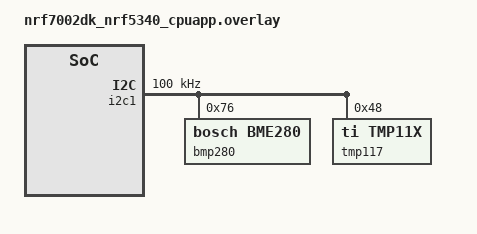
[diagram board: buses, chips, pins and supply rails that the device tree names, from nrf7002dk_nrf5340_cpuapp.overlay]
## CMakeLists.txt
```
cmake_minimum_required(VERSION 3.20.0)

if(BOARD STREQUAL "nrf7002dk/nrf5340/cpuapp")
  set(DTC_OVERLAY_FILE "${CMAKE_CURRENT_SOURCE_DIR}/nrf7002dk_nrf5340_cpuapp.overlay")
endif()

find_package(Zephyr REQUIRED HINTS $ENV{ZEPHYR_BASE})

project(Nordic_OTA)

target_sources(app PRIVATE src/main.c)
target_sources(app PRIVATE src/main.c src/mac_auth.c)
target_sources(app PRIVATE
    src/tls_common.c
    src/wifi_net.c
    src/ntp_sync.c
    src/ota_manifest.c
    src/ota_download.c
    src/sensor_iface.c
)
```

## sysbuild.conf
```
# ── sysbuild.conf (project root, alongside CMakeLists.txt) ───────────────────
# Processed by west/sysbuild before the application Kconfig.
# SB_CONFIG_ prefix = sysbuild-level symbol; never put these in prj.conf.

# Enable MCUboot as a child image. Sysbuild compiles it separately and wires
# it into the flash layout via Partition Manager.
SB_CONFIG_BOOTLOADER_MCUBOOT=y

# Place the secondary slot (OTA download target) in external QSPI flash.
#
# Internal flash (1 MB) layout after this change:
#   MCUboot bootloader  ~64 KB
#   Primary slot        ~928 KB   ← running firmware lives here
#   NVS / storage        ~32 KB
#
# External QSPI flash (8 MB) layout:
#   Secondary slot      ~928 KB   ← downloaded firmware lands here
#   Remaining ~7 MB     free (logs, assets, future use)
#
# This almost doubles usable per-slot firmware space versus the original
# two-slot-in-internal-flash design. Flash budget constraint is lifted.
SB_CONFIG_PM_EXTERNAL_FLASH_MCUBOOT_SECONDARY=y
SB_CONFIG_WIFI_NRF70=y
```

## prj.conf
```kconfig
# =============================================================================
# prj.conf — OTA Client, Stage 7 (MCUboot + External QSPI Flash Download)
# Target : nrf7002dk/nrf5340/cpuapp     NCS : v3.2.4 / Zephyr 4.2.x
# =============================================================================

# ── Wi-Fi ─────────────────────────────────────────────────────────────────────
CONFIG_WIFI=y
CONFIG_WIFI_NRF70=y
CONFIG_WIFI_NM_WPA_SUPPLICANT=y

# ── Wi-Fi Credentials & Auto-Connect ─────────────────────────────────────────
CONFIG_WIFI_CREDENTIALS=y
CONFIG_WIFI_CREDENTIALS_STATIC=y
CONFIG_WIFI_CREDENTIALS_STATIC_SSID="STECH"
CONFIG_WIFI_CREDENTIALS_STATIC_PASSWORD="$tech1311"
CONFIG_NET_CONNECTION_MANAGER=y
CONFIG_L2_WIFI_CONNECTIVITY=y
CONFIG_L2_WIFI_CONNECTIVITY_AUTO_CONNECT=y

# ── Networking Stack ──────────────────────────────────────────────────────────
CONFIG_NETWORKING=y
CONFIG_NET_SOCKETS=y
CONFIG_NET_L2_ETHERNET=y
CONFIG_NET_IPV4=y
CONFIG_NET_IPV6=n
CONFIG_NET_DHCPV4=y
CONFIG_NET_TCP=y
CONFIG_NET_UDP=y
CONFIG_NET_MGMT_EVENT_INFO=y

# ── DNS ───────────────────────────────────────────────────────────────────────
CONFIG_DNS_RESOLVER=y
CONFIG_DNS_RESOLVER_ADDITIONAL_BUF_CTR=5

# ── TLS ───────────────────────────────────────────────────────────────────────
CONFIG_NET_SOCKETS_SOCKOPT_TLS=y
# Two contexts: one for manifest fetch, one for firmware download.
# Both are sequential (never simultaneous), but the OS may not release
# the context instantly after close(). Two prevents ENOBUFS on rapid retries.
CONFIG_NET_SOCKETS_TLS_MAX_CONTEXTS=4
CONFIG_TLS_CREDENTIALS=y
CONFIG_MBEDTLS_SSL_SERVER_NAME_INDICATION=y

# ── nRF Security (PSA backend) ────────────────────────────────────────────────
CONFIG_NRF_SECURITY=y
CONFIG_NRF_SECURITY_ADVANCED=y
CONFIG_MBEDTLS_ECP_DP_SECP384R1_ENABLED=y
CONFIG_PSA_WANT_ECC_SECP_R1_384=y
CONFIG_PSA_WANT_ALG_ECDSA=y
CONFIG_MBEDTLS_MPI_MAX_SIZE=512
CONFIG_PSA_WANT_RSA_KEY_SIZE_4096=y

# SHA-256 via PSA — used for firmware read-back integrity check.
# Likely already selected by TLS dependencies, but made explicit here
# because we call psa_hash_setup(PSA_ALG_SHA_256) directly.
CONFIG_PSA_WANT_ALG_SHA_256=y

# ── NTP / Date-Time ───────────────────────────────────────────────────────────
CONFIG_SNTP=y
CONFIG_DATE_TIME=y
CONFIG_DATE_TIME_NTP=y

# ── JSON ──────────────────────────────────────────────────────────────────────
CONFIG_JSON_LIBRARY=y

# ── CRC32 ─────────────────────────────────────────────────────────────────────
# Enables crc32_ieee_update() for streaming CRC computed during download.
# Produces identical output to Python: binascii.crc32(data) & 0xFFFFFFFF
CONFIG_CRC=y

# ── MCUboot Integration (application side) ────────────────────────────────────
# Enables boot_request_upgrade() / boot_set_confirmed() in the application.
# The bootloader itself is built as a child image by sysbuild (sysbuild.conf).
CONFIG_BOOTLOADER_MCUBOOT=y
CONFIG_IMG_MANAGER=y
CONFIG_MCUBOOT_IMG_MANAGER=y

# ── External QSPI Flash — MX25R6435F (8 MB) ──────────────────────────────────
# Nordic QSPI NOR driver for the MX25R6435F on nRF7002DK.
#
# NOTE: The nRF7002 companion IC also uses QSPI. The board DTS defines both
# on the QSPI bus using separate chip-select lines. If you see DTS build
# errors about QSPI conflicts, check build/zephyr/zephyr.dts — the external
# flash node label there is the authoritative name to use in code.
CONFIG_NORDIC_QSPI_NOR=y
CONFIG_SPI_NOR=y
CONFIG_SPI_NOR_SFDP_DEVICETREE=y
CONFIG_SPI_NOR_FLASH_LAYOUT_PAGE_SIZE=4096
# ── Flash Subsystem ───────────────────────────────────────────────────────────
CONFIG_FLASH=y
CONFIG_FLASH_MAP=y
CONFIG_FLASH_PAGE_LAYOUT=y

# stream_flash: writes firmware to the secondary slot in 4 KB chunks using a
# small RAM buffer. CONFIG_STREAM_FLASH_ERASE=y auto-erases each 4 KB sector
# just before writing it, so no separate pre-erase loop is needed.
CONFIG_STREAM_FLASH=y
CONFIG_STREAM_FLASH_ERASE=y

# ── Reboot ────────────────────────────────────────────────────────────────────
CONFIG_REBOOT=y

# ── Memory ────────────────────────────────────────────────────────────────────
CONFIG_HEAP_MEM_POOL_SIZE=49152

# Stack increased from 4096: main() now runs flash erase/write, PSA hash
# over a 512-byte read buffer, and a 4096-byte recv loop. Zephyr's flash
# drivers allocate on the stack internally — 8 KB prevents stack overflow.
CONFIG_MAIN_STACK_SIZE=8192
CONFIG_SYSTEM_WORKQUEUE_STACK_SIZE=3072
CONFIG_NET_CONNECTION_MANAGER_MONITOR_STACK_SIZE=4096
CONFIG_DATE_TIME_THREAD_STACK_SIZE=3072

# ── Logging ───────────────────────────────────────────────────────────────────
CONFIG_LOG=y
CONFIG_LOG_MODE_IMMEDIATE=y
CONFIG_LOG_BACKEND_UART=y
CONFIG_NET_LOG=n
CONFIG_DK_LIBRARY=y
CONFIG_NEWLIB_LIBC=y
CONFIG_NEWLIB_LIBC_NANO=y
# Size reductions for nrf52840dk MCUboot dual-slot builds.
CONFIG_BOOT_BANNER=n
CONFIG_NCS_BOOT_BANNER=n
CONFIG_PRINTK=y
CONFIG_CBPRINTF_NANO=y
CONFIG_LTO=y
# ── I2C Sensors (sensor_iface.c) ──────────────────────────────────────────────
# Generic Zephyr sensor subsystem — sensor_iface.c talks to every sensor
# through this same API (sensor_sample_fetch / sensor_channel_get), so adding
# a new I2C sensor never needs new bus-level code, only:
#   1. its devicetree node (see the .overlay file)
#   2. enabling its driver Kconfig symbol below
#   3. one entry in the `sensors[]` table in sensor_iface.c
CONFIG_I2C=y
CONFIG_SENSOR=y
 
```

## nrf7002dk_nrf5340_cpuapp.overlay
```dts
/ {
	chosen {
		nordic,pm-ext-flash = &mx25r64;
	};
};
&i2c1{
    status = "okay";
    clock-frequency =<I2C_BITRATE_STANDARD>;
    /* BMP280 */
    bmp280: bmp280@76 {
        compatible = "bosch,bme280";
        status = "okay";
        reg = <0x76>;
    };

    /* TMP117 */
    tmp117: tmp117@48 {
        compatible = "ti,tmp11x";
        status = "okay";
        reg = <0x48>;
    };
};
```

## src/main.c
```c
/*
 * OTA Firmware Update Client — Stage 8 (Periodic, semaphore + thread)
 * Target : nrf7002dk/nrf5340/cpuapp     NCS : v3.2.4
 *
 * Full pipeline (unchanged from the previous modularised version):
 *  1. Wi-Fi auto-connect (wpa_supplicant + connection manager)
 *  2. 5 s routing stabilisation
 *  3. NTP time sync  (required for TLS cert notBefore/notAfter check)
 *  4. MAC address authentication against GitHub whitelist
 *  5. HTTPS fetch of update.json  → parse 5 fields only
 *  6. Semver version check         → skip if already current
 *  7. HTTPS download of firmware binary → stream directly to QSPI secondary slot
 *     (auto-restarts from scratch, up to OTA_MAX_DOWNLOAD_ATTEMPTS times, on
 *      any download or integrity failure)
 *  8. CRC-32 verification          → computed during download, zero extra RAM
 *  9. SHA-256 verification         → read-back from QSPI flash via PSA Crypto
 * 10. boot_request_upgrade()       → test-mode swap request
 * 11. sys_reboot()                 → MCUboot swaps primary ↔ secondary on next boot
 *     New firmware must call boot_set_confirmed() or MCUboot reverts on timeout.
 *
 * NEW in Stage 8 — periodic execution:
 *   The pipeline above (steps 1-11, minus the one-time Wi-Fi/TLS/LED init
 *   which now happens once in main()) runs inside a dedicated OTA thread,
 *   gated by a semaphore (sem_ota_trigger):
 *     - sem_ota_trigger starts at count 1, so the OTA pipeline still runs
 *       immediately on boot — identical first-run behaviour to before.
 *     - A k_timer (ota_timer) is started with period OTA_INTERVAL,
 *       and on every expiry calls k_sem_give(&sem_ota_trigger) from timer
 *       (ISR) context, waking the OTA thread for the next cycle.
 *     - If the pipeline succeeds, boot_request_upgrade()+sys_reboot() fires
 *       as before and the device restarts (timer/semaphore re-init on boot).
 *     - If the pipeline fails or finds no update, the OTA thread simply
 *       loops back to k_sem_take() and sleeps until the *next* full 24 h
 *       timer expiry — no shortened retry interval after a failed cycle.
 *
 * Module map:
 *   tls_common.{c,h}    — shared TLS socket setup + root CA registration
 *   wifi_net.{c,h}      — Wi-Fi L4 connect/disconnect event handling
 *   ntp_sync.{c,h}      — NTP time sync
 *   mac_auth.{c,h}      — MAC whitelist authentication
 *   ota_manifest.{c,h}  — update.json fetch + parsing + version compare
 *   ota_download.{c,h}  — firmware download, CRC-32, SHA-256 verification
 *   sensor_iface.{c,h}  — I2C sensor polling thread (TMP117 + BMP280,
 *                         table-driven — see sensor_iface.c to add more)
 */

#include <errno.h>
#include <zephyr/kernel.h>
#include <zephyr/logging/log.h>
#include <zephyr/sys/reboot.h>
#include <zephyr/dfu/mcuboot.h>

#include "tls_common.h"
#include "wifi_net.h"
#include "ntp_sync.h"
#include "mac_auth.h"
#include "ota_manifest.h"
#include "ota_download.h"
#include "sensor_iface.h"

LOG_MODULE_REGISTER(OTA_Client, LOG_LEVEL_INF);

/* ── Version ──────────────────────────────────────────────────────────────── */
#define FIRMWARE_VERSION_CURRENT  "1.1.2"

/* ── Download retry policy ───────────────────────────────────────────────── */
/* On any download or integrity-check failure, restart the firmware download
 * from byte 0 (up to this many total attempts) rather than giving up. */
#define OTA_MAX_DOWNLOAD_ATTEMPTS   3
#define OTA_RETRY_DELAY_MS          3000

/* ── Periodic OTA scheduling ─────────────────────────────────────────────── */
/* How often the whole OTA pipeline is re-run. On a failed/no-update cycle
 * the thread waits this full duration again before the next attempt.
 *
 * *** TESTING VALUE *** — set to 2 minutes so you don't have to wait 24 h
 * to see repeat cycles. Change back to K_HOURS(24) before production. */
#define OTA_INTERVAL  K_MINUTES(2)

#define OTA_THREAD_STACK_SIZE  4096
#define OTA_THREAD_PRIORITY    7

/*
 * sem_ota_trigger — gates the OTA worker thread.
 * Initial count 1 so the pipeline runs once immediately at boot (matching
 * the previous behaviour). Every subsequent k_sem_give() comes from
 * ota_timer_handler() on each 24 h timer expiry.
 */
static K_SEM_DEFINE(sem_ota_trigger, 1, 1);

static void ota_timer_handler(struct k_timer *timer_id)
{
    ARG_UNUSED(timer_id);
    LOG_INF("24 h OTA timer expired — triggering scheduled OTA check.");
    k_sem_give(&sem_ota_trigger);
}

K_TIMER_DEFINE(ota_timer, ota_timer_handler, NULL);

/* ═══════════════════════════════════════════════════════════════════════════
 * ota_run_once() — single end-to-end OTA pipeline pass.
 *
 * Identical logic to the previous main(): MAC auth → manifest fetch →
 * version check → download/verify retry loop → MCUboot upgrade request →
 * reboot. On success this function never returns (sys_reboot()). On any
 * failure or "already up to date" outcome it returns a status code so the
 * caller can simply log it and wait for the next cycle.
 *
 * Wi-Fi connect/DHCP and NTP sync are repeated on every cycle (not just at
 * boot) since the connection may have dropped between runs — same effect
 * as the original blocking calls, just re-entered each pass.
 * ═══════════════════════════════════════════════════════════════════════════ */
static int ota_run_once(void)
{
    int ret;

    /* ── 1. Ensure Wi-Fi + DHCP are up ───────────────────────────────────── */
    /*
     * NOTE: do NOT call wifi_net_wait_connected() here — that semaphore is
     * one-shot per connect event and is already consumed once at boot in
     * main(). If the link stays connected (the normal case), the event
     * never refires, so calling it again here would block this thread
     * forever on the 2nd+ cycle. Poll the persistent flag instead.
     */
    while (!wifi_net_is_connected()) {
        LOG_WRN("Wi-Fi not connected — waiting before this OTA cycle...");
        k_msleep(2000);
    }

    /* ── 2. Routing stabilisation ────────────────────────────────────────── */
    LOG_INF("Interface up. Waiting 5 s for routing to settle...");
    k_msleep(5000);

    /* ── 3. NTP time sync ────────────────────────────────────────────────── */
    ntp_sync_blocking(K_SECONDS(15));

    /* ── MAC Address Authentication Check ───────────────────────────────── */
    char local_mac[18] = {0};
    ret = get_local_mac_address(local_mac, sizeof(local_mac));
    if (ret != 0) {
        LOG_ERR("Could not read local MAC address: %d. Halting update.", ret);
        return ret;
    }
    LOG_INF("Local Hardware Identifier: %s", local_mac);

    LOG_INF("Checking system operational clearance against remote whitelist...");
    ret = verify_device_authorization(local_mac);
    if (ret != 0) {
        LOG_ERR("Device authorization failed (%d). Aborting OTA process.", ret);
        return ret;
    }
    k_msleep(500);

    /* ── 4. Fetch manifest ───────────────────────────────────────────────── */
    ret = ota_manifest_fetch();
    if (ret != 0) {
        LOG_ERR("Manifest fetch failed: %d", ret);
        return ret;
    }

    const struct ota_manifest *manifest = ota_manifest_get();

    /* ── 5. Version check ────────────────────────────────────────────────── */
    if (ota_manifest_version_cmp(manifest->version, FIRMWARE_VERSION_CURRENT) <= 0) {
        LOG_INF("Already running the latest firmware (%s). Nothing to do.",
                FIRMWARE_VERSION_CURRENT);
        return 0;
    }
    LOG_INF("Update available: %s → %s",
            FIRMWARE_VERSION_CURRENT, manifest->version);

    /* ── 6-8. Download + verify, restarting from scratch on any failure ─── */
    bool update_ready = false;

    for (int attempt = 1; attempt <= OTA_MAX_DOWNLOAD_ATTEMPTS; attempt++) {
        uint32_t computed_crc   = 0;
        size_t   received_bytes = 0;

        LOG_INF("Firmware download attempt %d/%d ...",
                attempt, OTA_MAX_DOWNLOAD_ATTEMPTS);

        ret = ota_download_firmware(manifest, &computed_crc, &received_bytes);
        if (ret != 0) {
            LOG_WRN("Download attempt %d failed (%d).", attempt, ret);
            goto retry_wait;
        }

        ret = ota_download_verify_crc32(manifest, computed_crc, received_bytes);
        if (ret != 0) {
            LOG_WRN("CRC-32 check failed on attempt %d — download was "
                    "corrupted or interrupted.", attempt);
            goto retry_wait;
        }

        ret = ota_download_verify_sha256(manifest);
        if (ret != 0) {
            LOG_WRN("SHA-256 check failed on attempt %d.", attempt);
            goto retry_wait;
        }

        update_ready = true;
        break;

retry_wait:
        if (attempt < OTA_MAX_DOWNLOAD_ATTEMPTS) {
            LOG_INF("Retrying download in %d ms ...", OTA_RETRY_DELAY_MS);
            k_msleep(OTA_RETRY_DELAY_MS);
        }
    }

    if (!update_ready) {
        LOG_ERR("Firmware download/verify failed after %d attempts. "
                "Giving up until next scheduled OTA check.",
                OTA_MAX_DOWNLOAD_ATTEMPTS);
        return -EIO;
    }

    /* ── 9. Request MCUboot upgrade and reboot ───────────────────────────── */
    LOG_INF("Download verified (CRC-32 + SHA-256 OK). "
            "Requesting MCUboot upgrade...");

    ret = boot_request_upgrade(BOOT_UPGRADE_TEST);
    if (ret != 0) {
        LOG_ERR("boot_request_upgrade failed: %d", ret);
        return ret;
    }

    LOG_INF("Rebooting into new firmware in 1 s...");
    k_msleep(1000);
    sys_reboot(SYS_REBOOT_COLD);

    /* Never reached */
    return 0;
}

/* ═══════════════════════════════════════════════════════════════════════════
 * ota_thread_fn() — persistent worker thread.
 *
 * Blocks on sem_ota_trigger, runs one full OTA pass, then goes straight
 * back to waiting on the semaphore. Whether the pass succeeded, found no
 * update, or failed after retries, the next wake-up only happens via the
 * next k_sem_give() — i.e. the next full OTA_INTERVAL timer expiry. There
 * is no shortened/backoff retry interval after a failure.
 * ═══════════════════════════════════════════════════════════════════════════ */
static void ota_thread_fn(void *arg1, void *arg2, void *arg3)
{
    ARG_UNUSED(arg1);
    ARG_UNUSED(arg2);
    ARG_UNUSED(arg3);

    while (true) {
        k_sem_take(&sem_ota_trigger, K_FOREVER);

        LOG_INF("=== Starting OTA check/update cycle ===");
        int ret = ota_run_once();
        LOG_INF("=== OTA cycle finished (ret=%d). Sleeping until next "
                "scheduled check. ===", ret);
    }
}

K_THREAD_STACK_DEFINE(ota_thread_stack, OTA_THREAD_STACK_SIZE);
static struct k_thread ota_thread_data;

/* ═══════════════════════════════════════════════════════════════════════════
 * MAIN — one-time init only. Periodic OTA work happens in ota_thread_fn().
 * ═══════════════════════════════════════════════════════════════════════════ */
int main(void)
{
    int ret;

    /* Sensor reading replaces the old LED heartbeat — no dk_leds_init()
     * precondition, just start the polling thread directly. */
    sensor_iface_start();

    ret = tls_common_init();
    if (ret < 0) {
        return ret;
    }

    LOG_INF("OTA Client starting. Waiting for Wi-Fi...");

    wifi_net_init();

    /* Block here once at boot so the first OTA pass (triggered by the
     * semaphore's initial count of 1) doesn't race ahead of link-up. The
     * OTA thread itself also calls wifi_net_wait_connected() on every
     * cycle, in case the link has dropped between runs. */
    wifi_net_wait_connected();

    /* ── Start the periodic OTA worker thread ────────────────────────────── */
    k_thread_create(&ota_thread_data,
                    ota_thread_stack,
                    K_THREAD_STACK_SIZEOF(ota_thread_stack),
                    ota_thread_fn,
                    NULL, NULL, NULL,
                    OTA_THREAD_PRIORITY,
                    0,
                    K_NO_WAIT);

    /* ── Start the 24 h recurring trigger ────────────────────────────────── */
    k_timer_start(&ota_timer, OTA_INTERVAL, OTA_INTERVAL);

    LOG_INF("OTA scheduler armed: first check now, then every 24 h.");

    return 0;
}
```

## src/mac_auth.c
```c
/*
 * mac_auth.c — Device MAC-address whitelist authentication
 *
 * Fetches /BareMetalBits/OTA_Nordic/main/allowed_macs.json over HTTPS and
 * checks whether this device's Wi-Fi MAC address appears in the list.
 *
 * Reuses OTA_TLS_SEC_TAG (defined in mac_auth.h) — the root CA credential
 * registered by main() before this function is ever called. No separate
 * tls_credential_add() call is needed here.
 *
 * Call order enforced by main():
 *   1. tls_credential_add()          — root CA registered at startup
 *   2. NTP sync complete             — cert time validation works
 *   3. get_local_mac_address()       — read this device's MAC
 *   4. verify_device_authorization() — fetch + search whitelist
 *   5. fetch_manifest() ...          — proceed only if step 4 returns 0
 */

#include "mac_auth.h"

#include <errno.h>
#include <stdio.h>
#include <string.h>
#include <ctype.h>

#include <zephyr/kernel.h>
#include <zephyr/logging/log.h>
#include <zephyr/net/net_if.h>
#include <zephyr/net/socket.h>
#include <zephyr/net/tls_credentials.h>

LOG_MODULE_REGISTER(mac_auth, LOG_LEVEL_INF);

/* ── Endpoint ─────────────────────────────────────────────────────────────── */
#define GITHUB_HOST  "raw.githubusercontent.com"
#define GITHUB_PORT  "443"
#define AUTH_PATH    "/BareMetalBits/OTA_Nordic/main/allowed_macs.json"

/*
 * Response buffer: holds the full HTTP response (headers + JSON body).
 * GitHub/Fastly headers: ~700-1000 bytes.
 * JSON body (50 MACs × 22 chars each): ~1100 bytes.
 * 3 KB covers both with headroom. Static (BSS) — no stack cost.
 */
#define AUTH_RESP_BUF_SIZE  3072
static char resp_buf[AUTH_RESP_BUF_SIZE];

/* ── Case-insensitive substring search ───────────────────────────────────── */
/*
 * Returns a pointer to the first occurrence of needle in haystack, ignoring
 * ASCII case. Returns NULL if not found. MAC addresses are stored as
 * uppercase "AA:BB:CC:DD:EE:FF" — this function also accepts lowercase JSON.
 *
 * Returns const char * (not char *) because haystack is const: the caller
 * only needs to test for NULL, never to write through the returned pointer.
 */
static const char *istrstr(const char *haystack, const char *needle)
{
    if (!haystack || !needle || !*needle) {
        return haystack;
    }
    for (; *haystack; haystack++) {
        if (tolower((unsigned char)*haystack) ==
            tolower((unsigned char)*needle)) {
            const char *h = haystack + 1;
            const char *n = needle   + 1;
            while (*h && *n &&
                   tolower((unsigned char)*h) ==
                   tolower((unsigned char)*n)) {
                h++;
                n++;
            }
            if (!*n) {
                return haystack;
            }
        }
    }
    return NULL;
}

/* ═══════════════════════════════════════════════════════════════════════════
 * get_local_mac_address()
 *
 * Reads the default network interface's link-layer address and formats it as
 * "AA:BB:CC:DD:EE:FF\0" (uppercase hex, colon-separated, 18 chars total).
 *
 * The MAC is logged at INF so you can immediately read it from the terminal
 * and copy it into allowed_macs.json — no separate tool needed.
 * ═══════════════════════════════════════════════════════════════════════════ */
int get_local_mac_address(char *mac_str, size_t max_len)
{
    if (!mac_str || max_len < 18) {
        return -EINVAL;
    }

    struct net_if *iface = net_if_get_default();
    if (!iface) {
        LOG_ERR("No default network interface available.");
        return -ENODEV;
    }

    struct net_linkaddr *link = net_if_get_link_addr(iface);
    if (!link || link->len != 6) {
        LOG_ERR("Link-layer address unavailable or not 6 bytes.");
        return -EINVAL;
    }

    snprintf(mac_str, max_len, "%02X:%02X:%02X:%02X:%02X:%02X",
             link->addr[0], link->addr[1], link->addr[2],
             link->addr[3], link->addr[4], link->addr[5]);

    LOG_INF("Device MAC: %s  (add to allowed_macs.json if auth is denied)",
            mac_str);
    return 0;
}

/* ═══════════════════════════════════════════════════════════════════════════
 * verify_device_authorization()
 *
 * Downloads allowed_macs.json over HTTPS (TLS_PEER_VERIFY_REQUIRED, ISRG
 * Root X1 credential) and performs a case-insensitive search for local_mac
 * in the JSON body.
 *
 * Returns  0        authorised
 *         -EACCES   MAC not found in whitelist
 *         other     network / TLS / protocol error
 * ═══════════════════════════════════════════════════════════════════════════ */
int verify_device_authorization(const char *local_mac)
{
    if (!local_mac || !*local_mac) {
        return -EINVAL;
    }

    /* ── DNS + TLS ──────────────────────────────────────────────────────── */
    struct addrinfo hints = {
        .ai_family   = AF_INET,
        .ai_socktype = SOCK_STREAM,
        .ai_protocol = IPPROTO_TCP,
    };
    struct addrinfo *res = NULL;

    int ret = getaddrinfo(GITHUB_HOST, GITHUB_PORT, &hints, &res);
    if (ret != 0) {
        LOG_ERR("DNS lookup failed for %s: %d", GITHUB_HOST, ret);
        return -EIO;
    }

    int sock = socket(AF_INET, SOCK_STREAM, IPPROTO_TLS_1_2);
    if (sock < 0) {
        LOG_ERR("TLS socket create failed, errno %d", errno);
        freeaddrinfo(res);
        return -errno;
    }

    sec_tag_t sec_tags[] = { OTA_TLS_SEC_TAG };
    setsockopt(sock, SOL_TLS, TLS_SEC_TAG_LIST,  sec_tags, sizeof(sec_tags));
    setsockopt(sock, SOL_TLS, TLS_HOSTNAME, GITHUB_HOST, strlen(GITHUB_HOST));
    int verify = TLS_PEER_VERIFY_REQUIRED;
    setsockopt(sock, SOL_TLS, TLS_PEER_VERIFY, &verify, sizeof(verify));

    ret = connect(sock, res->ai_addr, res->ai_addrlen);
    freeaddrinfo(res);
    if (ret < 0) {
        LOG_ERR("TLS connect to %s:%s failed, errno %d",
                GITHUB_HOST, GITHUB_PORT, errno);
        close(sock);
        return -errno;
    }

    LOG_INF("TLS connected to %s for MAC auth", GITHUB_HOST);

    /* ── HTTP GET ──────────────────────────────────────────────────────── */
    char req[256];
    int  req_len = snprintf(req, sizeof(req),
        "GET %s HTTP/1.1\r\n"
        "Host: %s\r\n"
        "Connection: close\r\n"
        "\r\n",
        AUTH_PATH, GITHUB_HOST);

    if (send(sock, req, req_len, 0) < 0) {
        LOG_ERR("send() failed, errno %d", errno);
        close(sock);
        return -errno;
    }

    /* ── Receive full response ─────────────────────────────────────────── */
    memset(resp_buf, 0, sizeof(resp_buf));
    size_t total       = 0;
    bool   peer_closed = false;
    int    n;

    while (total < sizeof(resp_buf) - 1) {
        n = recv(sock, resp_buf + total,
                 sizeof(resp_buf) - 1 - total, 0);
        if (n < 0) {
            LOG_ERR("recv() failed, errno %d", errno);
            close(sock);
            return -errno;
        }
        if (n == 0) {
            peer_closed = true;
            break; /* server closed — all data received */
        }
        total += n;
    }
    close(sock);

    if (!peer_closed) {
        /*
         * Buffer filled before the server closed — the JSON body is truncated.
         * A truncated search could produce a false negative (legitimate device
         * gets denied). Fail loudly rather than silently authorise or deny.
         * Fix: increase AUTH_RESP_BUF_SIZE or trim the whitelist JSON.
         */
        LOG_ERR("Auth response buffer full (%d B) before server EOF — "
                "whitelist may be truncated. Increase AUTH_RESP_BUF_SIZE.",
                AUTH_RESP_BUF_SIZE);
        return -EMSGSIZE;
    }

    resp_buf[total] = '\0';

    /* ── Locate HTTP body ──────────────────────────────────────────────── */
    char *body = strstr(resp_buf, "\r\n\r\n");
    if (!body) {
        LOG_ERR("No HTTP header/body separator in auth response.");
        return -EPROTO;
    }
    body += 4;

    /* ── MAC search ────────────────────────────────────────────────────── */
    /*
     * Scan the raw JSON body for the MAC string (case-insensitive).
     * A 17-character MAC address "AA:BB:CC:DD:EE:FF" is a fixed length and
     * cannot be a proper prefix of another valid MAC, so strstr produces no
     * false positives in well-formed JSON.
     *
     * Supported JSON format (any order, extra fields ignored):
     *   {
     *     "allowed_macs": [
     *       "AA:BB:CC:DD:EE:FF",
     *       "11:22:33:44:55:66"
     *     ]
     *   }
     */
    if (istrstr(body, local_mac) != NULL) {
        LOG_INF("MAC auth PASSED: %s is authorised.", local_mac);
        return 0;
    }

    LOG_ERR("MAC auth DENIED: %s not found in whitelist.", local_mac);
    return -EACCES;
}
```

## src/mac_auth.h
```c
#ifndef MAC_AUTH_H
#define MAC_AUTH_H

#include <stddef.h>
#include "tls_common.h"

/*
 * OTA_TLS_SEC_TAG is now defined in tls_common.h (single source of truth
 * for the shared TLS credential tag, used by main.c, tls_common.c, and
 * mac_auth.c). Pulled in transitively via the include above — no
 * redefinition needed here.
 */

/**
 * @brief Read the Wi-Fi interface MAC address as an uppercase hex string.
 *
 * Format: "AA:BB:CC:DD:EE:FF\0"  — caller must supply at least 18 bytes.
 * The address is also logged at INF level for easy copy-paste into
 * allowed_macs.json when setting up a new board.
 *
 * @param mac_str  Output buffer (minimum 18 bytes).
 * @param max_len  Size of mac_str.
 * @return 0 on success, -ENODEV if no interface, -EINVAL if buffer too small.
 */
int get_local_mac_address(char *mac_str, size_t max_len);

/**
 * @brief Fetch allowed_macs.json and verify this device is listed.
 *
 * Opens a TLS 1.2 connection to raw.githubusercontent.com, downloads
 * /BareMetalBits/OTA_Nordic/main/allowed_macs.json, and performs a
 * case-insensitive search for local_mac in the JSON body.
 *
 * Prerequisites (enforced by call order in main()):
 *   - tls_credential_add() has been called for OTA_TLS_SEC_TAG
 *   - NTP sync has completed so cert time validation works
 *
 * @param local_mac  Null-terminated MAC from get_local_mac_address().
 * @return  0          authorised
 *         -EACCES     MAC not found in whitelist
 *         -EMSGSIZE   auth response truncated (increase AUTH_RESP_BUF_SIZE)
 *         other       network / TLS / protocol error
 */
int verify_device_authorization(const char *local_mac);

#endif /* MAC_AUTH_H */
```

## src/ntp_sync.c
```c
/*
 * ntp_sync.c — NTP time sync wrapper.
 *
 * on_date_time_notification() body is byte-for-byte identical to the
 * original in main.c.
 */

#include "ntp_sync.h"

#include <zephyr/logging/log.h>
#include <date_time.h>

LOG_MODULE_REGISTER(ntp_sync, LOG_LEVEL_INF);

static K_SEM_DEFINE(sem_ntp_done, 0, 1);

static void on_date_time_notification(const struct date_time_evt *evt)
{
    if (evt->type == DATE_TIME_OBTAINED_NTP) {
        LOG_INF("NTP sync successful.");
    } else {
        LOG_WRN("NTP sync failed — TLS cert time check may fail if cert "
                "window has shifted.");
    }
    k_sem_give(&sem_ntp_done);
}

void ntp_sync_blocking(k_timeout_t timeout)
{
    LOG_INF("Starting NTP sync...");
    date_time_register_handler(on_date_time_notification);
    date_time_update_async(NULL);

    if (k_sem_take(&sem_ntp_done, timeout) != 0) {
        LOG_WRN("NTP timed out — TLS cert time check may fail if cert expired");
    }
}
```

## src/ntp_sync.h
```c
#define NTP_SYNC_H

#include <zephyr/kernel.h>

/*
 * ntp_sync.h — NTP time sync wrapper.
 *
 * Extracted from main.c: on_date_time_notification(), sem_ntp_done, and
 * the date_time_register_handler() / date_time_update_async() / k_sem_take
 * sequence that was inlined in main(). Logic is unchanged; the only
 * difference is the 15-second timeout is now a function parameter instead
 * of a hardcoded K_SECONDS(15), to avoid a magic number crossing the
 * module boundary silently. Calling with the same value reproduces
 * identical behaviour.
 */

/**
 * @brief Start an NTP sync and block until it completes or times out.
 *
 * On timeout, logs the same warning the original main() logged and returns
 * normally — NTP failure is non-fatal, exactly as before.
 *
 * @param timeout  How long to wait for sync (pass K_SECONDS(15) to match
 *                 the original main.c behaviour exactly).
 */
void ntp_sync_blocking(k_timeout_t timeout);
```

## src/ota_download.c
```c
/*
 * ota_download.c — Firmware download, CRC-32, and SHA-256 verification.
 *
 * download_firmware(), verify_crc32(), verify_sha256(), open_secondary_slot(),
 * and find_body_start() bodies are byte-for-byte identical to the originals
 * in main.c. The only change is reading manifest fields through a passed-in
 * `const struct ota_manifest *manifest` parameter instead of the file-static
 * g_manifest global — same field names, same values, same access pattern,
 * just passed explicitly across the module boundary instead of shared
 * implicitly within one file.
 */

#include "ota_download.h"
#include "ota_manifest.h"
#include "tls_common.h"

#include <errno.h>
#include <stdint.h>
#include <stdio.h>
#include <stdlib.h>
#include <string.h>

#include <zephyr/kernel.h>
#include <zephyr/logging/log.h>
#include <zephyr/net/socket.h>
#include <zephyr/sys/crc.h>
#include <zephyr/storage/flash_map.h>
#include <zephyr/storage/stream_flash.h>

#include <psa/crypto.h>

LOG_MODULE_REGISTER(ota_download, LOG_LEVEL_INF);

/* ── GitHub endpoint ──────────────────────────────────────────────────────── */
#define GITHUB_HOST    "raw.githubusercontent.com"
#define GITHUB_PORT    "443"

/*
 * Firmware download recv buffer: 4 KB matches the MX25R6435F sector.
 * Stored in BSS (no flash cost, only RAM). With 512 KB RAM this is fine.
 */
#define FW_RECV_BUF_SIZE       4096
/* stream_flash internal buffer: must equal or be a multiple of the erase unit. */
#define STREAM_FLASH_BUF_SIZE  4096

/* ── Flash context (global — too large for stack) ────────────────────────── */
static struct stream_flash_ctx g_fw_stream;
static uint8_t                 g_stream_buf[STREAM_FLASH_BUF_SIZE];
static const struct flash_area *g_fw_fa;

/* ── Firmware download recv buffer ───────────────────────────────────────── */
static uint8_t fw_recv_buf[FW_RECV_BUF_SIZE];

static const uint8_t *find_body_start(const uint8_t *buf, size_t len)
{
    for (size_t i = 0; (i + 3) < len; i++) {
        if (buf[i]   == '\r' && buf[i+1] == '\n' &&
            buf[i+2] == '\r' && buf[i+3] == '\n') {
            return buf + i + 4;
        }
    }
    return NULL;
}

static int open_secondary_slot(void)
{
    int ret = flash_area_open(FIXED_PARTITION_ID(mcuboot_secondary), &g_fw_fa);
    if (ret != 0) {
        LOG_ERR("flash_area_open(mcuboot_secondary) failed: %d. "
                "Verify PM_MCUBOOT_SECONDARY_ID in pm_config.h", ret);
        return ret;
    }

    const struct device *flash_dev = flash_area_get_device(g_fw_fa);
    if (!device_is_ready(flash_dev)) {
        LOG_ERR("QSPI flash device not ready. "
                "Check CONFIG_NORDIC_QSPI_NOR=y and board DTS node.");
        flash_area_close(g_fw_fa);
        return -ENODEV;
    }

    ret = stream_flash_init(&g_fw_stream,
                            flash_dev,
                            g_stream_buf,
                            sizeof(g_stream_buf),
                            g_fw_fa->fa_off,
                            g_fw_fa->fa_size,
                            NULL);
    if (ret != 0) {
        LOG_ERR("stream_flash_init failed: %d", ret);
        flash_area_close(g_fw_fa);
    }
    return ret;
}

/*
 * Each call starts completely fresh: re-opens the secondary slot, re-inits
 * stream_flash, and re-downloads from byte 0. CONFIG_STREAM_FLASH_ERASE=y
 * re-erases each 4 KB sector before writing, so calling this repeatedly
 * from main()'s retry loop after a failed/interrupted attempt is safe.
 */
int ota_download_firmware(const struct ota_manifest *manifest,
                          uint32_t *out_crc, size_t *out_bytes)
{
    int ret = open_secondary_slot();
    if (ret != 0) {
        return ret;
    }

    int sock = tls_common_open_socket(GITHUB_HOST, GITHUB_PORT);
    if (sock < 0) {
        flash_area_close(g_fw_fa);
        return sock;
    }

    char req[384];
    int  req_len = snprintf(req, sizeof(req),
        "GET %s HTTP/1.0\r\n"
        "Host: %s\r\n"
        "\r\n",
        manifest->fw_path, GITHUB_HOST);

    if (send(sock, req, req_len, 0) < 0) {
        LOG_ERR("firmware GET send() failed, errno %d", errno);
        close(sock);
        flash_area_close(g_fw_fa);
        return -errno;
    }

    LOG_INF("Downloading firmware from %s ...", manifest->fw_path);

    uint32_t running_crc    = 0;
    size_t   bytes_written  = 0;
    bool     headers_skipped = false;
    int      n;

    while (true) {
        n = recv(sock, fw_recv_buf, sizeof(fw_recv_buf), 0);
        if (n < 0) {
            LOG_ERR("firmware recv() failed, errno %d", errno);
            ret = -errno;
            goto cleanup;
        }
        if (n == 0) {
            break;
        }

        const uint8_t *data     = fw_recv_buf;
        size_t         data_len = (size_t)n;

        if (!headers_skipped) {
            const uint8_t *body = find_body_start(fw_recv_buf, data_len);
            if (!body) {
                continue;
            }
            headers_skipped = true;
            data_len = data_len - (size_t)(body - fw_recv_buf);
            data     = body;
            LOG_INF("HTTP headers consumed. Firmware data starting.");
        }

        if (data_len == 0) {
            continue;
        }

        ret = stream_flash_buffered_write(&g_fw_stream, data, data_len, false);
        if (ret != 0) {
            LOG_ERR("stream_flash write failed at offset %zu: %d",
                    bytes_written, ret);
            goto cleanup;
        }

        running_crc   = crc32_ieee_update(running_crc, data, data_len);
        bytes_written += data_len;
    }

    ret = stream_flash_buffered_write(&g_fw_stream, NULL, 0, true);
    if (ret != 0) {
        LOG_ERR("stream_flash flush failed: %d", ret);
        goto cleanup;
    }

    LOG_INF("Download complete: %zu bytes written to QSPI secondary slot",
            bytes_written);
    *out_crc   = running_crc;
    *out_bytes = bytes_written;
    ret = 0;

cleanup:
    close(sock);
    flash_area_close(g_fw_fa);
    return ret;
}

int ota_download_verify_crc32(const struct ota_manifest *manifest,
                              uint32_t computed, size_t received_bytes)
{
    if ((int)received_bytes != manifest->file_size) {
        LOG_ERR("File size mismatch: received %zu bytes, manifest says %d",
                received_bytes, manifest->file_size);
        return -EMSGSIZE;
    }

    uint32_t expected = (uint32_t)strtoul(manifest->crc32, NULL, 16);
    if (computed != expected) {
        LOG_ERR("CRC32 FAIL — computed 0x%08X, expected 0x%08X",
                computed, expected);
        return -EBADMSG;
    }

    LOG_INF("CRC32 OK: 0x%08X", computed);
    return 0;
}

int ota_download_verify_sha256(const struct ota_manifest *manifest)
{
    int ret = flash_area_open(FIXED_PARTITION_ID(mcuboot_secondary), &g_fw_fa);
    if (ret != 0) {
        LOG_ERR("Cannot open secondary slot for SHA-256 read-back: %d", ret);
        return ret;
    }

    psa_hash_operation_t op  = PSA_HASH_OPERATION_INIT;
    psa_status_t         psa = psa_hash_setup(&op, PSA_ALG_SHA_256);
    if (psa != PSA_SUCCESS) {
        LOG_ERR("psa_hash_setup failed: %d", psa);
        flash_area_close(g_fw_fa);
        return -EIO;
    }

    uint8_t read_buf[512];
    size_t  remaining = (size_t)manifest->file_size;
    size_t  offset    = 0;

    while (remaining > 0) {
        size_t to_read = MIN(remaining, sizeof(read_buf));

        ret = flash_area_read(g_fw_fa, offset, read_buf, to_read);
        if (ret != 0) {
            LOG_ERR("flash_area_read at offset %zu failed: %d", offset, ret);
            psa_hash_abort(&op);
            flash_area_close(g_fw_fa);
            return ret;
        }

        psa_hash_update(&op, read_buf, to_read);
        offset    += to_read;
        remaining -= to_read;
    }

    flash_area_close(g_fw_fa);

    uint8_t hash[32];
    size_t  hash_len;

    psa = psa_hash_finish(&op, hash, sizeof(hash), &hash_len);
    if (psa != PSA_SUCCESS) {
        LOG_ERR("psa_hash_finish failed: %d", psa);
        return -EIO;
    }

    char hash_str[65];
    for (int i = 0; i < 32; i++) {
        snprintf(&hash_str[i * 2], 3, "%02x", hash[i]);
    }
    hash_str[64] = '\0';

    if (strcmp(hash_str, manifest->sha256) != 0) {
        LOG_ERR("SHA-256 FAIL");
        LOG_ERR("  computed : %s", hash_str);
        LOG_ERR("  expected : %s", manifest->sha256);
        return -EBADMSG;
    }

    LOG_INF("SHA-256 OK: %s", hash_str);
    return 0;
}
```

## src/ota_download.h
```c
#define OTA_DOWNLOAD_H

#include <stddef.h>
#include <stdint.h>

/*
 * ota_download.h — Firmware download to QSPI secondary slot, CRC-32 and
 * SHA-256 verification.
 *
 * Extracted from main.c: open_secondary_slot(), download_firmware(),
 * verify_crc32(), verify_sha256(), find_body_start(), and the associated
 * static buffers (g_fw_stream, g_stream_buf, g_fw_fa, fw_recv_buf).
 * All logic identical to the original.
 *
 * download_firmware() and verify_crc32()/verify_sha256() now take a
 * `const struct ota_manifest *manifest` parameter instead of reading the
 * file-static g_manifest directly — this is the one intentional design
 * change recommended during the modularisation discussion (explicit
 * dependency instead of implicit global), not a behavioural change: the
 * exact same fields (fw_path, file_size, sha256, crc32) are read in the
 * exact same way.
 */

struct ota_manifest; /* forward declaration — full definition in ota_manifest.h */

/**
 * @brief Download the firmware binary named in manifest->fw_path to the
 * QSPI secondary slot, computing CRC-32 incrementally as data arrives.
 *
 * Each call starts completely fresh: re-opens the secondary slot, re-inits
 * stream_flash, and re-downloads from byte 0 — identical behaviour to the
 * original, safe to call repeatedly from a retry loop.
 *
 * @param manifest   Parsed manifest (must have fw_path set).
 * @param out_crc    Receives the CRC-32 of all bytes written.
 * @param out_bytes  Receives the total byte count written.
 * @return 0 on success, negative errno on failure.
 */
int ota_download_firmware(const struct ota_manifest *manifest,
                          uint32_t *out_crc, size_t *out_bytes);

/**
 * @brief Verify the CRC-32 computed during download against the manifest.
 *
 * Identical to the original verify_crc32(): also checks received_bytes
 * against manifest->file_size before comparing the CRC value.
 *
 * @return 0 on match, -EMSGSIZE on size mismatch, -EBADMSG on CRC mismatch.
 */
int ota_download_verify_crc32(const struct ota_manifest *manifest,
                              uint32_t computed, size_t received_bytes);

/**
 * @brief Verify SHA-256 by reading back the firmware from QSPI flash.
 *
 * Identical to the original verify_sha256(): PSA Crypto read-back in
 * 512-byte chunks, hex-compared against manifest->sha256.
 *
 * @return 0 on match, -EBADMSG on hash mismatch, other negative errno on
 *         flash/PSA error.
 */
int ota_download_verify_sha256(const struct ota_manifest *manifest);
```

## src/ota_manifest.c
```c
/*
 * ota_manifest.c — OTA manifest fetch and parsing.
 *
 * fetch logic, header/body splitting, truncation guard, and bitmask
 * validation are byte-for-byte identical to the original fetch_manifest()
 * in main.c. Only the function name (ota_manifest_fetch) and the addition
 * of ota_manifest_get() / ota_manifest_version_cmp() wrappers are new —
 * no behavioural change.
 */

#include "ota_manifest.h"
#include "tls_common.h"

#include <errno.h>
#include <stdio.h>
#include <string.h>

#include <zephyr/kernel.h>
#include <zephyr/logging/log.h>
#include <zephyr/net/socket.h>
#include <zephyr/data/json.h>

LOG_MODULE_REGISTER(ota_manifest, LOG_LEVEL_INF);

/* ── GitHub endpoint ──────────────────────────────────────────────────────── */
#define GITHUB_HOST    "raw.githubusercontent.com"
#define GITHUB_PORT    "443"
#define MANIFEST_PATH  "/BareMetalBits/OTA_Nordic_Server/main/update.json"

/*
 * Manifest buffer holds the ENTIRE HTTP response — headers + body.
 * raw.githubusercontent.com (GitHub/Fastly CDN) routinely sends 700-1000+
 * bytes of response headers ahead of the ~230 byte update.json body.
 * 2048 bytes leaves comfortable headroom for both.
 */
#define MANIFEST_BUF_SIZE  2048

static const struct json_obj_descr manifest_descr[] = {
    JSON_OBJ_DESCR_PRIM(struct ota_manifest, version,   JSON_TOK_STRING),
    JSON_OBJ_DESCR_PRIM(struct ota_manifest, file_size, JSON_TOK_NUMBER),
    JSON_OBJ_DESCR_PRIM(struct ota_manifest, fw_path,   JSON_TOK_STRING),
    JSON_OBJ_DESCR_PRIM(struct ota_manifest, sha256,    JSON_TOK_STRING),
    JSON_OBJ_DESCR_PRIM(struct ota_manifest, crc32,     JSON_TOK_STRING),
};

static struct ota_manifest g_manifest;
static char manifest_raw[MANIFEST_BUF_SIZE];

int ota_manifest_fetch(void)
{
    int sock = tls_common_open_socket(GITHUB_HOST, GITHUB_PORT);
    if (sock < 0) {
        return sock;
    }

    char req[256];
    int  req_len = snprintf(req, sizeof(req),
        "GET %s HTTP/1.1\r\n"
        "Host: %s\r\n"
        "Connection: close\r\n"
        "\r\n",
        MANIFEST_PATH, GITHUB_HOST);

    if (send(sock, req, req_len, 0) < 0) {
        LOG_ERR("manifest send() failed, errno %d", errno);
        close(sock);
        return -errno;
    }

    size_t total = 0;
    int    n;
    bool   peer_closed = false;

    memset(manifest_raw, 0, sizeof(manifest_raw));

    while (total < sizeof(manifest_raw) - 1) {
        n = recv(sock, manifest_raw + total,
                 sizeof(manifest_raw) - 1 - total, 0);
        if (n < 0) {
            LOG_ERR("manifest recv() failed, errno %d", errno);
            close(sock);
            return -errno;
        }
        if (n == 0) {
            peer_closed = true;
            break; /* server closed connection — all data received */
        }
        total += n;
    }
    close(sock);

    if (!peer_closed) {
        /* Buffer filled before the server sent a clean close — the
         * response is almost certainly truncated. Fail loudly instead of
         * letting json_obj_parse() guess. */
        LOG_WRN("manifest_raw filled (%zu bytes) before the connection "
                "closed — response is likely truncated. Increase "
                "MANIFEST_BUF_SIZE if this keeps happening.", total);
    }

    /* Separate headers from body. */
    char *body = strstr(manifest_raw, "\r\n\r\n");
    if (!body) {
        LOG_ERR("No HTTP body separator in manifest response");
        return -EPROTO;
    }
    body += 4;
    size_t body_len = total - (size_t)(body - manifest_raw);

    /* Full raw body is only useful for deep debugging — keep it out of the
     * normal terminal output by logging at DBG level. */
    LOG_DBG("Manifest body (%zu bytes):\n%s", body_len, body);

    memset(&g_manifest, 0, sizeof(g_manifest));
    int ret = json_obj_parse(body, body_len,
                             manifest_descr, ARRAY_SIZE(manifest_descr),
                             &g_manifest);
    if (ret < 0) {
        LOG_ERR("JSON parse failed: %d", ret);
        return ret;
    }

    /* json_obj_parse() returns a bitmask of which descriptors were found.
     * A successful return code doesn't guarantee every field was present —
     * confirm all 5 bits are set before trusting the manifest. */
    const int all_fields = (1 << ARRAY_SIZE(manifest_descr)) - 1;
    if (ret != all_fields) {
        LOG_ERR("Manifest missing field(s) — parsed mask 0x%x, expected 0x%x",
                ret, all_fields);
        return -EPROTO;
    }

    LOG_INF("version : %s", g_manifest.version);
    LOG_INF("fw_path : %s", g_manifest.fw_path);
    LOG_INF("sha256  : %s", g_manifest.sha256);
    LOG_INF("crc32   : %s", g_manifest.crc32);

    return 0;
}

const struct ota_manifest *ota_manifest_get(void)
{
    return &g_manifest;
}

int ota_manifest_version_cmp(const char *a, const char *b)
{
    int am = 0, an = 0, ap = 0;
    int bm = 0, bn = 0, bp = 0;

    sscanf(a, "%d.%d.%d", &am, &an, &ap);
    sscanf(b, "%d.%d.%d", &bm, &bn, &bp);

    if (am != bm) { return am - bm; }
    if (an != bn) { return an - bn; }
    return ap - bp;
}
```

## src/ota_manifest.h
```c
#define OTA_MANIFEST_H

/*
 * ota_manifest.h — OTA manifest (update.json) fetch and parsing.
 *
 * Extracted from main.c: struct ota_manifest, manifest_descr[],
 * manifest_raw[], g_manifest, find_body_start(), version_cmp(),
 * fetch_manifest(). All logic identical to the original.
 *
 * struct ota_manifest is exposed here (not kept private) because both
 * main.c (version_cmp against FIRMWARE_VERSION_CURRENT) and
 * ota_download.c (fw_path, file_size, sha256, crc32) need direct field
 * access — exactly the same fields g_manifest exposed before the split.
 */

/*
 * IMPORTANT: the string fields below are `const char *`, NOT fixed arrays.
 * Zephyr's json_obj_parse() does not copy strings — decode_string() just
 * NUL-terminates the value in place inside the internal manifest_raw[]
 * buffer and stores a POINTER to it in the destination field. Because that
 * buffer is `static` inside ota_manifest.c, it lives for the program's
 * lifetime, so these pointers stay valid after ota_manifest_fetch() returns.
 */
struct ota_manifest {
    const char *version;
    int         file_size;
    const char *fw_path;
    const char *sha256;
    const char *crc32;
};

/**
 * @brief Fetch and parse update.json from GitHub over TLS.
 *
 * Identical behaviour to the original fetch_manifest(): HTTP/1.1 GET with
 * Connection: close, truncation guard via peer_closed tracking, 5-field
 * bitmask validation after json_obj_parse().
 *
 * On success, the manifest fields are accessible via ota_manifest_get().
 *
 * @return 0 on success, negative errno on failure (-EIO, -EPROTO, parser
 *         error codes from json_obj_parse).
 */
int ota_manifest_fetch(void);

/**
 * @brief Get a pointer to the most recently fetched manifest.
 *
 * Valid only after a successful ota_manifest_fetch() call. The returned
 * pointer references static storage inside ota_manifest.c — do not free it,
 * and treat it as read-only.
 *
 * @return Pointer to the internal manifest struct.
 */
const struct ota_manifest *ota_manifest_get(void);

/**
 * @brief Compare two "MAJOR.MINOR.PATCH" version strings.
 *
 * Identical to the original version_cmp() in main.c.
 *
 * @return > 0 if a > b, 0 if equal, < 0 if a < b.
 */
int ota_manifest_version_cmp(const char *a, const char *b);
```
